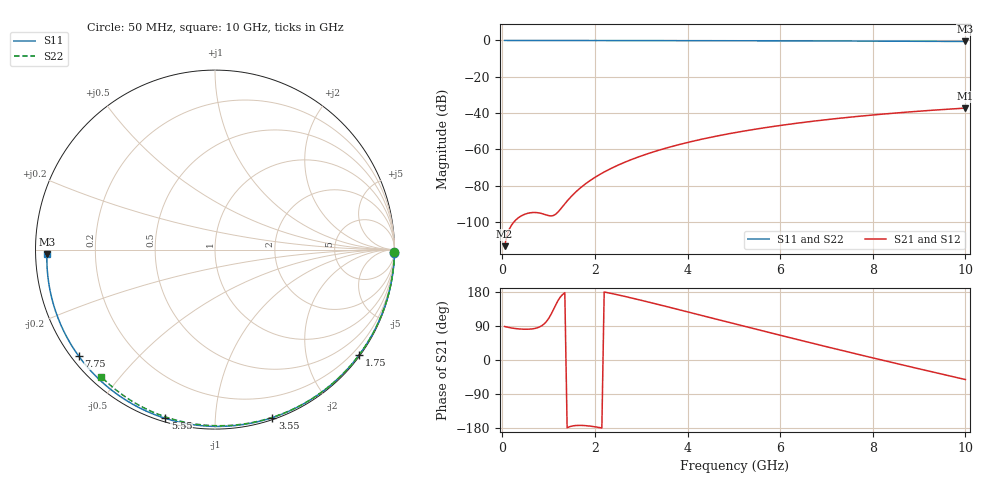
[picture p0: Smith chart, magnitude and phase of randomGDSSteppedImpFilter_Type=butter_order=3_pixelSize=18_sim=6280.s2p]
! freq	dB(S11)	phase(S11)	dB(S12)	phase(S12)
!  dB(S21)	phase(S21)	dB(S22)	phase(S22)
!S-par simulation data
#  GHz  S  DB  R 50
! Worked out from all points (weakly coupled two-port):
!   200 points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, 50 MHz to 10 GHz, reference 50 ohm
!   highest |S21| = -37.26 dB at 10 GHz (marker M1); lowest = -113.3 dB at 50 MHz (marker M2)
!   lowest |S11| = -0.6 dB at 10 GHz (marker M3), VSWR 30.81, Z = 1.62 - j0.706 ohm
!   |S11| at or under -10 dB: nowhere
!   |S22| runs from -0.4 to 0.0 dB; largest |S21 - S12| = 0
!   S11 on the Smith chart (normalised r, x): 50 MHz: open; 1.75 GHz: 0.03, -3.05; 3.55 GHz: 0.02, -1.40; 5.55 GHz: 0.02, -0.75; 7.75 GHz: 0.02, -0.34; 10 GHz: 0.03, -0.01
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0.05  -0.00 -1.1  -113.29 88.4  -113.29 88.4  -0.00 -0.8
0.45  -0.01 -9.5  -96.09 81.3  -96.09 81.3  -0.01 -6.9
0.85  -0.02 -17.9  -95.31 90.3  -95.31 90.3  -0.02 -12.9
1.3  -0.03 -27.1  -91.53 172.6  -91.53 172.6  -0.02 -19.6
1.75  -0.05 -36.3  -79.87 -172.8  -79.87 -172.8  -0.03 -26.3
1.9  -0.05 -39.3  -77.08 -174.5  -77.08 -174.5  -0.04 -28.5
2.05  -0.05 -42.3  -74.63 -177.2  -74.63 -177.2  -0.04 -30.7
2.25  -0.06 -46.3  -71.76 178.3  -71.76 178.3  -0.04 -33.6
2.45  -0.06 -50.2  -69.25 173.2  -69.25 173.2  -0.05 -36.5
2.9  -0.08 -58.9  -64.52 160.5  -64.52 160.5  -0.06 -43.0
3.4  -0.09 -68.4  -60.29 145.5  -60.29 145.5  -0.07 -50.1
3.55  -0.09 -71.2  -59.18 140.9  -59.18 140.9  -0.07 -52.2
4.3  -0.12 -84.8  -54.42 117.8  -54.42 117.8  -0.09 -62.5
5.05  -0.15 -97.9  -50.64 94.5  -50.64 94.5  -0.11 -72.4
5.55  -0.17 -106.4  -48.52 79.1  -48.52 79.1  -0.13 -78.9
6.1  -0.20 -115.5  -46.47 62.3  -46.47 62.3  -0.15 -85.9
6.7  -0.24 -125.3  -44.51 44.1  -44.51 44.1  -0.18 -93.4
7.25  -0.28 -134.1  -42.93 27.7  -42.93 27.7  -0.21 -100.0
7.75  -0.32 -142.0  -41.64 12.9  -41.64 12.9  -0.24 -106.0
8.35  -0.38 -151.6  -40.26 -4.6  -40.26 -4.6  -0.29 -113.0
9.2  -0.47 -165.2  -38.58 -29.0  -38.58 -29.0  -0.36 -122.8
10  -0.56 -178.4  -37.26 -51.5  -37.26 -51.5  -0.45 -131.9
